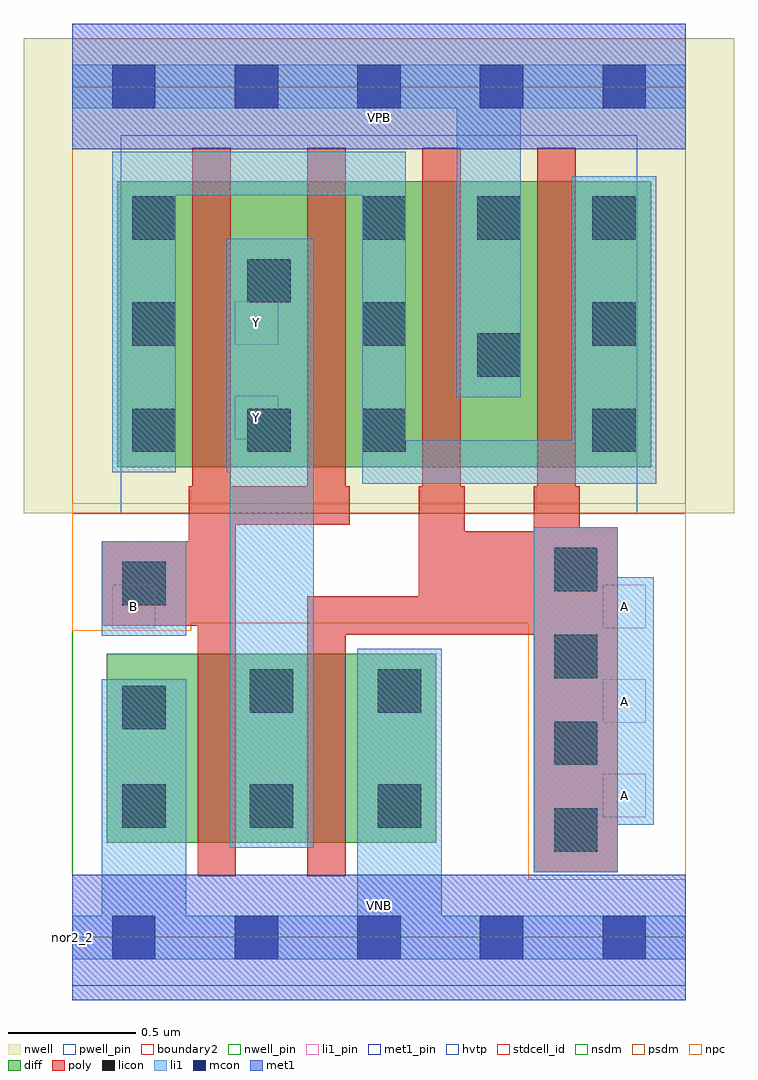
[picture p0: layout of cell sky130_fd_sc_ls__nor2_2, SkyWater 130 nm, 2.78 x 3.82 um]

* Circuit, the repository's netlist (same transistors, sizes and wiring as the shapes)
* Copyright 2020 The SkyWater PDK Authors
*
* Licensed under the Apache License, Version 2.0 (the "License");
* you may not use this file except in compliance with the License.
* You may obtain a copy of the License at
*
*     https://www.apache.org/licenses/LICENSE-2.0
*
* Unless required by applicable law or agreed to in writing, software
* distributed under the License is distributed on an "AS IS" BASIS,
* WITHOUT WARRANTIES OR CONDITIONS OF ANY KIND, either express or implied.
* See the License for the specific language governing permissions and
* limitations under the License.
*
* SPDX-License-Identifier: Apache-2.0

.SUBCKT sky130_fd_sc_ls__nor2_2 A B VGND VNB VPB VPWR Y
*.PININFO A:I B:I VGND:I VNB:I VPB:I VPWR:I Y:O
MMP0 VPWR A sndPA VPB sky130_fd_pr__pfet_01v8_hvt m=2 w=1.12U l=0.15U mult=1 sa=0.265
+ sb=0.265 sd=0.28 area=0.063 perim=1.14
MMP1 sndPA B Y VPB sky130_fd_pr__pfet_01v8_hvt m=2 w=1.12U l=0.15U mult=1 sa=0.265
+ sb=0.265 sd=0.28 area=0.063 perim=1.14
MMN0 Y A VGND VNB sky130_fd_pr__nfet_01v8 m=1 w=0.74U l=0.15U mult=1 sa=0.265 sb=0.265
+ sd=0.28 area=0.063 perim=1.14
MMN1 Y B VGND VNB sky130_fd_pr__nfet_01v8 m=1 w=0.74U l=0.15U mult=1 sa=0.265 sb=0.265
+ sd=0.28 area=0.063 perim=1.14
.ENDS sky130_fd_sc_ls__nor2_2

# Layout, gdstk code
import gdstk
lib = gdstk.Library(unit=1e-6, precision=1e-09)
def R(c, l, rs):  # rectangles x0, y0, x1, y1
    for r in rs: c.add(gdstk.rectangle(r[:2], r[2:], *l))
def A(c, l, x, y, w, h, nx, ny, dx, dy):  # array of equal rectangles
    R(c, l, [(x+i*dx, y+j*dy, x+i*dx+w, y+j*dy+h) for i in range(nx) for j in range(ny)])
def P(c, l, *ps):  # polygons
    for p in ps: c.add(gdstk.Polygon(p, *l))
nwell_pin = (64, 16)
nwell = (64, 20)
diff = (65, 20)
poly = (66, 20)
licon = (66, 44)
li1_pin = (67, 16)
li1 = (67, 20)
mcon = (67, 44)
met1_pin = (68, 16)
met1 = (68, 20)
hvtp = (78, 44)
stdcell_id = (81, 4)
nsdm = (93, 44)
psdm = (94, 20)
npc = (95, 20)
pwell_pin = (122, 16)
boundary2 = (236, 0)

sky130_fd_sc_ls__nor2_2 = lib.new_cell('sky130_fd_sc_ls__nor2_2')
R(sky130_fd_sc_ls__nor2_2, nwell_pin, [(0,3.085,2.4,3.33)])
R(sky130_fd_sc_ls__nor2_2, nwell, [(-0.19,1.66,2.59,3.52)])
R(sky130_fd_sc_ls__nor2_2, diff, [(0.135,0.37,1.425,1.11), (0.175,1.84,2.265,2.96)])
P(sky130_fd_sc_ls__nor2_2, poly, [(2.135,1.605),(1.985,1.605),(1.985,1.765),(1.97,1.765),(1.97,3.09),(1.82,3.09),(1.82,1.765),(1.805,1.765),(1.805,1.59),(1.535,1.59),(1.535,1.765),(1.52,1.765),(1.52,3.09),(1.37,3.09),(1.37,1.765),(1.355,1.765),(1.355,1.335),(0.92,1.335),(0.92,0.24),(1.07,0.24),(1.07,1.185),(1.805,1.185),(1.805,0.255),(2.135,0.255)],
  [(1.085,1.765),(1.07,1.765),(1.07,3.09),(0.92,3.09),(0.92,1.765),(0.62,1.765),(0.62,3.09),(0.47,3.09),(0.47,1.765),(0.455,1.765),(0.455,1.55),(0.115,1.55),(0.115,1.22),(0.49,1.22),(0.49,0.24),(0.64,0.24),(0.64,1.615),(1.085,1.615)])
A(sky130_fd_sc_ls__nor2_2, licon, 1.885, 0.335, 0.17, 0.17, 1, 4, 0, 0.34)
A(sky130_fd_sc_ls__nor2_2, licon, 0.195, 0.43, 0.17, 0.17, 3, 1, 0.5, 0)
A(sky130_fd_sc_ls__nor2_2, licon, 0.235, 1.9, 0.17, 0.17, 3, 1, 0.45, 0)
A(sky130_fd_sc_ls__nor2_2, licon, 0.235, 2.315, 0.17, 0.17, 3, 1, 0.9, 0)
A(sky130_fd_sc_ls__nor2_2, licon, 1.135, 2.73, 0.17, 0.17, 3, 1, 0.45, 0)
R(sky130_fd_sc_ls__nor2_2, licon, [(0.195,0.815,0.365,0.985), (0.695,0.88,0.865,1.05), (1.195,0.88,1.365,1.05), (0.195,1.3,0.365,1.47), (2.035,1.9,2.205,2.07), (1.585,2.195,1.755,2.365), (0.685,2.485,0.855,2.655), (0.235,2.73,0.405,2.9)])
A(sky130_fd_sc_ls__nor2_2, li1_pin, 2.075, 0.47, 0.17, 0.17, 1, 3, 0, 0.37)
R(sky130_fd_sc_ls__nor2_2, li1_pin, [(0.155,1.21,0.325,1.38), (0.635,1.95,0.805,2.12), (0.635,2.32,0.805,2.49)])
R(sky130_fd_sc_ls__nor2_2, li1, [(0.115,1.18,0.445,1.55)])
P(sky130_fd_sc_ls__nor2_2, li1, [(0,-0.085),(0,0.085),(0.115,0.085),(0.115,1.01),(0.445,1.01),(0.445,0.085),(1.115,0.085),(1.115,1.13),(1.445,1.13),(1.445,0.085),(2.4,0.085),(2.4,-0.085)],
  [(0,3.245),(0,3.415),(2.4,3.415),(2.4,3.245),(1.755,3.245),(1.755,2.115),(1.505,2.115),(1.505,3.245)],
  [(0.605,1.82),(0.605,2.735),(0.945,2.735),(0.945,0.35),(0.615,0.35),(0.615,1.82)],
  [(1.805,0.255),(1.805,1.605),(2.135,1.605),(2.135,1.41),(2.275,1.41),(2.275,0.44),(2.135,0.44),(2.135,0.255)],
  [(1.135,2.905),(0.405,2.905),(0.405,1.82),(0.155,1.82),(0.155,3.075),(1.305,3.075),(1.305,1.945),(1.955,1.945),(1.955,2.98),(2.285,2.98),(2.285,1.775),(1.135,1.775)])
A(sky130_fd_sc_ls__nor2_2, mcon, 0.155, -0.085, 0.17, 0.17, 5, 2, 0.48, 3.33)
R(sky130_fd_sc_ls__nor2_2, met1_pin, [(0,0,2.4,0.245), (0,3.085,2.4,3.33)])
R(sky130_fd_sc_ls__nor2_2, met1, [(0,-0.245,2.4,0.245), (0,3.085,2.4,3.575)])
R(sky130_fd_sc_ls__nor2_2, hvtp, [(0.19,1.66,2.21,3.14)])
R(sky130_fd_sc_ls__nor2_2, stdcell_id, [(0,0,2.4,3.33)])
R(sky130_fd_sc_ls__nor2_2, nsdm, [(0,-0.19,2.4,1.66)])
R(sky130_fd_sc_ls__nor2_2, psdm, [(0,1.66,2.4,3.52)])
P(sky130_fd_sc_ls__nor2_2, npc, [(2.4,1.7),(0,1.7),(0,1.2),(0.465,1.2),(0.465,1.23),(1.785,1.23),(1.785,0.225),(2.4,0.225)])
R(sky130_fd_sc_ls__nor2_2, pwell_pin, [(0,0,2.4,0.245)])
R(sky130_fd_sc_ls__nor2_2, boundary2, [(0,0,2.4,3.33)])
sky130_fd_sc_ls__nor2_2.add(gdstk.Label('nor2_2', (0,0), layer=83, texttype=44))
sky130_fd_sc_ls__nor2_2.add(gdstk.Label('VNB', (1.2,0.123), layer=64, texttype=59))
sky130_fd_sc_ls__nor2_2.add(gdstk.Label('VPB', (1.2,3.208), layer=64, texttype=5))
sky130_fd_sc_ls__nor2_2.add(gdstk.Label('VPWR', (1.2,3.208), layer=68, texttype=5))
sky130_fd_sc_ls__nor2_2.add(gdstk.Label('VGND', (1.2,0.123), layer=68, texttype=5))
sky130_fd_sc_ls__nor2_2.add(gdstk.Label('B', (0.24,1.295), layer=67, texttype=5))
sky130_fd_sc_ls__nor2_2.add(gdstk.Label('Y', (0.72,2.035), layer=67, texttype=5))
sky130_fd_sc_ls__nor2_2.add(gdstk.Label('Y', (0.72,2.405), layer=67, texttype=5))
sky130_fd_sc_ls__nor2_2.add(gdstk.Label('A', (2.16,0.555), layer=67, texttype=5))
sky130_fd_sc_ls__nor2_2.add(gdstk.Label('A', (2.16,0.925), layer=67, texttype=5))
sky130_fd_sc_ls__nor2_2.add(gdstk.Label('A', (2.16,1.295), layer=67, texttype=5))

lib.write_gds('sky130_fd_sc_ls__nor2_2.gds')
